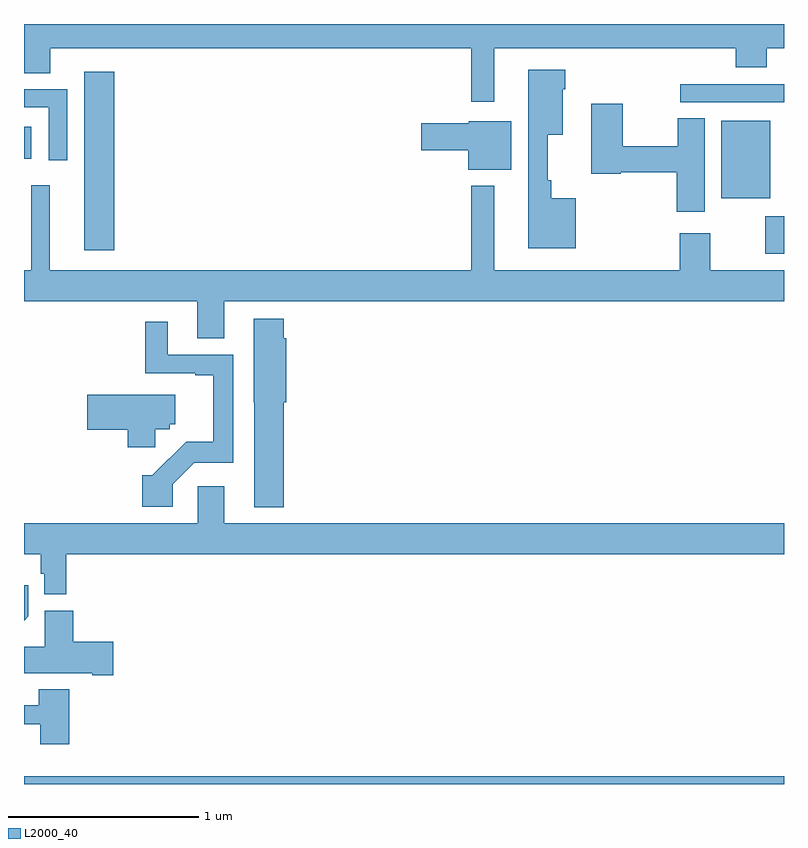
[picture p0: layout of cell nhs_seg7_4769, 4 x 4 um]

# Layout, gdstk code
import gdstk
lib = gdstk.Library(unit=1e-6, precision=1e-09)
def R(c, l, rs):  # rectangles x0, y0, x1, y1
    for r in rs: c.add(gdstk.rectangle(r[:2], r[2:], *l))
def P(c, l, *ps):  # polygons
    for p in ps: c.add(gdstk.Polygon(p, *l))
L2000_40 = (2000, 40)

nhs_seg7_4769 = lib.new_cell('nhs_seg7_4769')
R(nhs_seg7_4769, L2000_40, [(409,1074,413,1074.04), (412.9,1076.79,413,1076.988), (409.316,1076.808,409.475,1077.748), (412.67,1077.083,412.927,1077.49), (409,1077.29,409.039,1077.46), (412.455,1077.588,413,1077.684)])
P(nhs_seg7_4769, L2000_40, [(411.475,1077.872),(412.745,1077.872),(412.745,1077.773),(412.91,1077.773),(412.91,1077.872),(413,1077.872),(413,1078),(409,1078),(409,1077.742),(409.138,1077.742),(409.138,1077.872),(411.354,1077.872),(411.354,1077.591),(411.475,1077.591)],
  [(411.904,1077.082),(411.775,1077.082),(411.775,1077.178),(411.757,1077.178),(411.757,1077.416),(411.835,1077.416),(411.835,1077.656),(411.848,1077.656),(411.848,1077.76),(411.653,1077.76),(411.653,1076.819),(411.904,1076.819)],
  [(409.227,1077.657),(409,1077.657),(409,1077.561),(409.131,1077.561),(409.131,1077.282),(409.227,1077.282)],
  [(412.582,1077.503),(412.441,1077.503),(412.441,1077.356),(412.152,1077.356),(412.152,1077.58),(411.986,1077.58),(411.986,1077.212),(412.14,1077.212),(412.14,1077.22),(412.436,1077.22),(412.436,1077.012),(412.582,1077.012)],
  [(411.565,1077.487),(411.342,1077.487),(411.342,1077.477),(411.09,1077.477),(411.09,1077.335),(411.338,1077.335),(411.338,1077.233),(411.565,1077.233)],
  [(410.053,1076.54),(413,1076.54),(413,1076.704),(412.611,1076.704),(412.611,1076.899),(412.451,1076.899),(412.451,1076.704),(411.475,1076.704),(411.475,1077.148),(411.354,1077.148),(411.354,1076.704),(409.136,1076.704),(409.136,1077.151),(409.037,1077.151),(409.037,1076.704),(409,1076.704),(409,1076.54),(409.913,1076.54),(409.913,1076.346),(410.053,1076.346)],
  [(410.366,1076.01),(410.381,1076.01),(410.381,1076.346),(410.366,1076.346),(410.366,1076.449),(410.21,1076.449),(410.21,1076.01),(410.213,1076.01),(410.213,1075.457),(410.366,1075.457)],
  [(409.782,1075.578),(409.896,1075.692),(410.101,1075.692),(410.101,1076.259),(409.756,1076.259),(409.756,1076.434),(409.639,1076.434),(409.639,1076.163),(409.901,1076.163),(409.901,1076.151),(409.997,1076.151),(409.997,1075.802),(409.853,1075.802),(409.675,1075.624),(409.622,1075.624),(409.622,1075.458),(409.782,1075.458)],
  [(409.692,1075.866),(409.767,1075.866),(409.767,1075.893),(409.795,1075.893),(409.795,1076.05),(409.563,1076.05),(409.563,1076.048),(409.332,1076.048),(409.332,1075.865),(409.547,1075.865),(409.547,1075.772),(409.692,1075.772)],
  [(409.223,1075.208),(413,1075.208),(413,1075.372),(410.053,1075.372),(410.053,1075.567),(409.914,1075.567),(409.914,1075.372),(409,1075.372),(409,1075.208),(409.087,1075.208),(409.087,1075.107),(409.107,1075.107),(409.107,1074.998),(409.223,1074.998)],
  [(409.022,1074.882),(409.022,1075.045),(409,1075.045),(409,1074.86)],
  [(409.471,1074.75),(409.259,1074.75),(409.259,1074.913),(409.109,1074.913),(409.109,1074.722),(409,1074.722),(409,1074.584),(409.358,1074.584),(409.358,1074.572),(409.471,1074.572)],
  [(409.238,1074.499),(409.078,1074.499),(409.078,1074.415),(409,1074.415),(409,1074.315),(409.085,1074.315),(409.085,1074.21),(409.238,1074.21)])

lib.write_gds('nhs_seg7_4769.gds')
